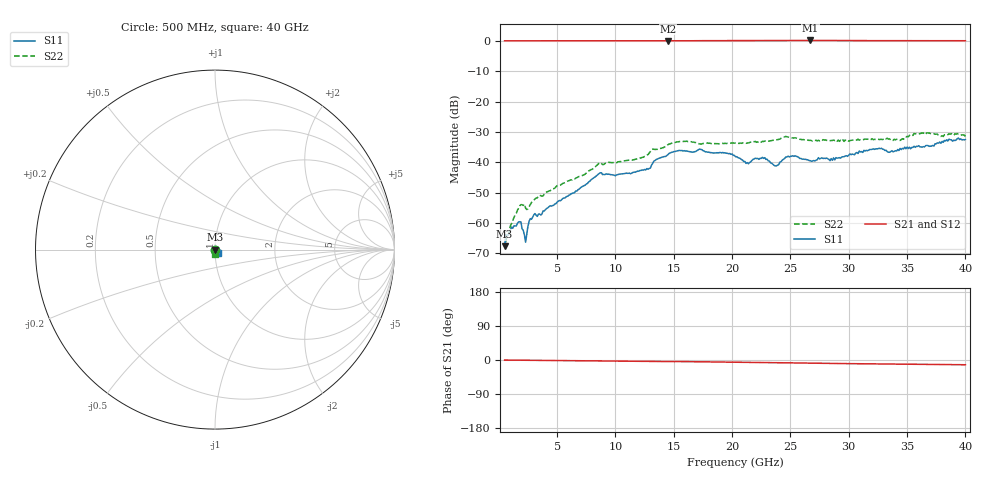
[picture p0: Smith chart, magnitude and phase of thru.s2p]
!Keysight Technologies,N5247B,MY61255062,A.15.50.07
!Date: Wednesday, February 12, 2025 16:42:09
!Correction: S11(C  2-Port  )
!S21(C  2-Port  )
!S12(C  2-Port  )
!S22(C  2-Port  )
!S2P File: Measurements: S11, S21, S12, S22:
# Hz S  MA  R 50
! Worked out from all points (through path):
!   396 points, 500 MHz to 40 GHz, reference 50 ohm
!   highest |S21| = 0.12 dB at 26.7 GHz (marker M1); lowest = 0.0 dB at 14.5 GHz (marker M2)
!   group delay of S21, straight-line fit = 887 fs
!   lowest |S11| = -67.6 dB at 500 MHz (marker M3), VSWR 1.00, Z = 50 + j0.00279 ohm
!   |S11| at or under -10 dB: start of sweep to end of sweep
!   |S22| runs from -66.5 to -30.3 dB; largest |S21 - S12| = 0.0014
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5e8  0.0004159 3.8  1.001 -0.2  1 -0.2  0.0004707 -71.2
6e8  0.0006452 4.0  1.001 -0.2  1 -0.2  0.0004858 -65.7
1.9e9  0.001039 -54.8  1 -0.6  1 -0.6  0.002007 -90.4
2.3e9  0.0004827 -36.9  0.9998 -0.7  0.9999 -0.7  0.001758 -102.8
2.6e9  0.001067 -21.9  1 -0.8  1 -0.8  0.001854 -82.3
3.1e9  0.001432 -37.6  1 -1.0  1 -1.0  0.002485 -83.7
7.1e9  0.003914 -35.8  0.999 -2.2  0.999 -2.3  0.006001 -72.7
8.7e9  0.006722 -53.5  0.9975 -2.6  0.9975 -2.6  0.00994 -78.7
1.13e10  0.006485 -59.7  0.9989 -3.3  0.9988 -3.4  0.0108 -81.0
1.37e10  0.01158 -54.5  0.9959 -4.0  0.9958 -4.0  0.01658 -78.6
1.45e10  0.01336 -58.3  0.9955 -4.1  0.9954 -4.1  0.01946 -79.8
1.72e10  0.01649 -87.1  1.005 -4.7  1.005 -4.7  0.02007 -101.7
2.03e10  0.01232 -107.7  1.009 -5.8  1.009 -5.9  0.02065 -103.3
2.14e10  0.009453 -97.0  1.01 -6.3  1.01 -6.3  0.02084 -101.3
2.28e10  0.01191 -95.6  1.01 -6.8  1.01 -6.8  0.02239 -102.1
2.37e10  0.008725 -92.1  1.011 -7.2  1.011 -7.2  0.02343 -100.4
2.48e10  0.01262 -81.2  1.011 -7.5  1.011 -7.5  0.02612 -105.8
2.67e10  0.01063 -79.0  1.014 -8.2  1.013 -8.3  0.0231 -108.6
2.69e10  0.01048 -80.9  1.013 -8.3  1.013 -8.4  0.02241 -108.7
3.26e10  0.01706 -67.7  1.005 -10.5  1.005 -10.5  0.02372 -98.5
3.35e10  0.01462 -65.2  1.004 -10.6  1.004 -10.6  0.02418 -98.3
4e10  0.02371 -49.7  1.002 -12.6  1.002 -12.6  0.02666 -88.6
